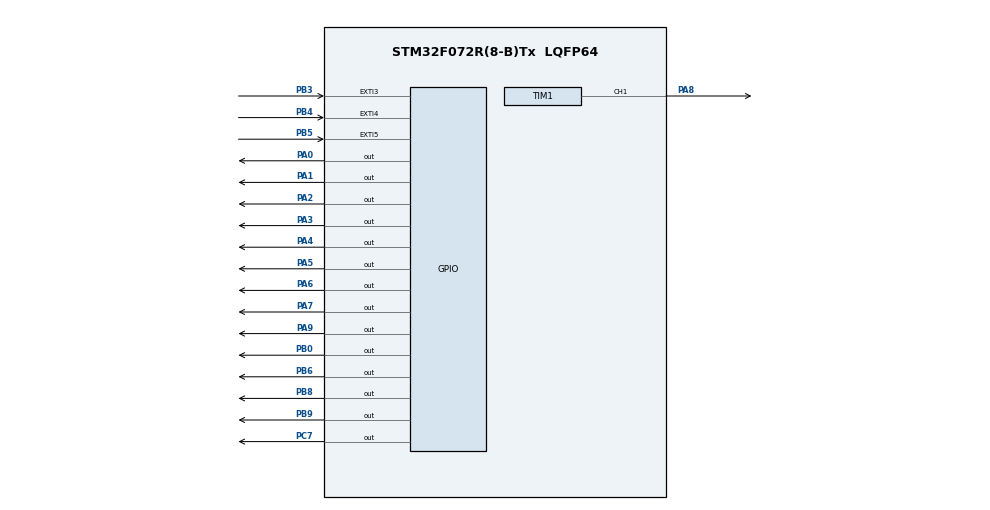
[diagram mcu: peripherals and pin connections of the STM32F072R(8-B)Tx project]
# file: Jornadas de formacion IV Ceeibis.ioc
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Mcu.Family=STM32F0
Mcu.Name=STM32F072R(8-B)Tx
Mcu.Package=LQFP64
NVIC.EXTI2_3_IRQn=true\:0\:0\:false\:false\:true\:true\:true
NVIC.EXTI4_15_IRQn=true\:0\:0\:false\:false\:true\:true\:true
PA0.Signal=GPIO_Output
PA1.Signal=GPIO_Output
PA13.Mode=Serial_Wire
PA13.Signal=SYS_SWDIO
PA14.Mode=Serial_Wire
PA14.Signal=SYS_SWCLK
PA2.Signal=GPIO_Output
PA3.Signal=GPIO_Output
PA4.Signal=GPIO_Output
PA5.Signal=GPIO_Output
PA6.Signal=GPIO_Output
PA7.Signal=GPIO_Output
PA8.Signal=S_TIM1_CH1
PA9.Signal=GPIO_Output
PB0.Signal=GPIO_Output
PB3.Signal=GPXTI3
PB4.Signal=GPXTI4
PB5.Signal=GPXTI5
PB6.Signal=GPIO_Output
PB8.Signal=GPIO_Output
PB9.Signal=GPIO_Output
PC7.Signal=GPIO_Output
ProjectManager.HeapSize=0x200
ProjectManager.StackSize=0x400
ProjectManager.TargetToolchain=TrueSTUDIO
SH.S_TIM1_CH1.0=TIM1_CH1,PWM Generation1 CH1
TIM1.Channel-PWM\ Generation1\ CH1=TIM_CHANNEL_1
TIM1.Period=200
TIM1.Prescaler=66
TIM1.Pulse-PWM\ Generation1\ CH1=100
board=custom

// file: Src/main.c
/* USER CODE BEGIN Header */
/**
 ******************************************************************************
 * @file           : main.c
 * @brief          : Main program body
 ******************************************************************************
 * @attention
 *
 * <h2><center>&copy; Copyright (c) 2019 STMicroelectronics.
 * All rights reserved.</center></h2>
 *
 * This software component is licensed by ST under BSD 3-Clause license,
 * the "License"; You may not use this file except in compliance with the
 * License. You may obtain a copy of the License at:
 *                        opensource.org/licenses/BSD-3-Clause
 *
 ******************************************************************************
 */
/* USER CODE END Header */

#include "main.h"

TIM_HandleTypeDef htim1;

void SystemClock_Config(void);
static void MX_GPIO_Init(void);
static void MX_TIM1_Init(void);

int main(void) {

	/* MCU Configuration--------------------------------------------------------*/

	/* Reset of all peripherals, Initializes the Flash interface and the Systick. */
	HAL_Init();

	/* Configure the system clock */
	SystemClock_Config();

	/* Initialize all configured peripherals */
	MX_GPIO_Init();
	MX_TIM1_Init();

	/* USER CODE BEGIN 2 */
	//LED Test
	HAL_GPIO_WritePin(GPIOB, GPIO_PIN_9, GPIO_PIN_SET);
	HAL_Delay(1000);
	HAL_GPIO_WritePin(GPIOB, GPIO_PIN_9, GPIO_PIN_RESET);
	HAL_GPIO_WritePin(GPIOB, GPIO_PIN_8, GPIO_PIN_SET);
	HAL_Delay(1000);
	HAL_GPIO_WritePin(GPIOB, GPIO_PIN_8, GPIO_PIN_RESET);
	HAL_GPIO_WritePin(GPIOA, GPIO_PIN_5, GPIO_PIN_SET);
	HAL_Delay(1000);
	HAL_GPIO_WritePin(GPIOA, GPIO_PIN_5, GPIO_PIN_RESET);
	//7 Segment Display Test
	HAL_GPIO_WritePin(GPIOA, GPIO_PIN_6, GPIO_PIN_SET);
	HAL_GPIO_WritePin(GPIOA, GPIO_PIN_7, GPIO_PIN_SET);
	HAL_GPIO_WritePin(GPIOB, GPIO_PIN_6, GPIO_PIN_SET);
	HAL_GPIO_WritePin(GPIOC, GPIO_PIN_7, GPIO_PIN_SET);
	HAL_GPIO_WritePin(GPIOA, GPIO_PIN_0, GPIO_PIN_SET);
	HAL_GPIO_WritePin(GPIOA, GPIO_PIN_1, GPIO_PIN_SET);
	HAL_GPIO_WritePin(GPIOA, GPIO_PIN_4, GPIO_PIN_SET);
	HAL_GPIO_WritePin(GPIOB, GPIO_PIN_0, GPIO_PIN_SET);
	HAL_GPIO_WritePin(GPIOA, GPIO_PIN_10, GPIO_PIN_SET);
	//Buzzer Test
	HAL_TIM_Base_Start(&htim1);
	HAL_TIM_PWM_Start(&htim1, TIM_CHANNEL_1);
	/* USER CODE END 2 */

	/* Infinite loop */
	while (1) {

	}
}

void SystemClock_Config(void) {
	RCC_OscInitTypeDef RCC_OscInitStruct = { 0 };
	RCC_ClkInitTypeDef RCC_ClkInitStruct = { 0 };

	/** Initializes the CPU, AHB and APB busses clocks
	 */
	RCC_OscInitStruct.OscillatorType = RCC_OSCILLATORTYPE_HSI;
	RCC_OscInitStruct.HSIState = RCC_HSI_ON;
	RCC_OscInitStruct.HSICalibrationValue = RCC_HSICALIBRATION_DEFAULT;
	RCC_OscInitStruct.PLL.PLLState = RCC_PLL_NONE;
	if (HAL_RCC_OscConfig(&RCC_OscInitStruct) != HAL_OK) {
		Error_Handler();
	}
	/** Initializes the CPU, AHB and APB busses clocks
	 */
	RCC_ClkInitStruct.ClockType = RCC_CLOCKTYPE_HCLK | RCC_CLOCKTYPE_SYSCLK
			| RCC_CLOCKTYPE_PCLK1;
	RCC_ClkInitStruct.SYSCLKSource = RCC_SYSCLKSOURCE_HSI;
	RCC_ClkInitStruct.AHBCLKDivider = RCC_SYSCLK_DIV1;
	RCC_ClkInitStruct.APB1CLKDivider = RCC_HCLK_DIV1;

	if (HAL_RCC_ClockConfig(&RCC_ClkInitStruct, FLASH_LATENCY_0) != HAL_OK) {
		Error_Handler();
	}
}

static void MX_TIM1_Init(void) {

	TIM_MasterConfigTypeDef sMasterConfig = { 0 };
	TIM_OC_InitTypeDef sConfigOC = { 0 };
	TIM_BreakDeadTimeConfigTypeDef sBreakDeadTimeConfig = { 0 };

	htim1.Instance = TIM1;
	htim1.Init.Prescaler = 66;
	htim1.Init.CounterMode = TIM_COUNTERMODE_UP;
	htim1.Init.Period = 200;
	htim1.Init.ClockDivision = TIM_CLOCKDIVISION_DIV1;
	htim1.Init.RepetitionCounter = 0;
	htim1.Init.AutoReloadPreload = TIM_AUTORELOAD_PRELOAD_DISABLE;
	if (HAL_TIM_PWM_Init(&htim1) != HAL_OK) {
		Error_Handler();
	}
	sMasterConfig.MasterOutputTrigger = TIM_TRGO_RESET;
	sMasterConfig.MasterSlaveMode = TIM_MASTERSLAVEMODE_DISABLE;
	if (HAL_TIMEx_MasterConfigSynchronization(&htim1, &sMasterConfig)
			!= HAL_OK) {
		Error_Handler();
	}
	sConfigOC.OCMode = TIM_OCMODE_PWM1;
	sConfigOC.Pulse = 100;
	sConfigOC.OCPolarity = TIM_OCPOLARITY_HIGH;
	sConfigOC.OCNPolarity = TIM_OCNPOLARITY_HIGH;
	sConfigOC.OCFastMode = TIM_OCFAST_DISABLE;
	sConfigOC.OCIdleState = TIM_OCIDLESTATE_RESET;
	sConfigOC.OCNIdleState = TIM_OCNIDLESTATE_RESET;
	if (HAL_TIM_PWM_ConfigChannel(&htim1, &sConfigOC, TIM_CHANNEL_1)
			!= HAL_OK) {
		Error_Handler();
	}
	sBreakDeadTimeConfig.OffStateRunMode = TIM_OSSR_DISABLE;
	sBreakDeadTimeConfig.OffStateIDLEMode = TIM_OSSI_DISABLE;
	sBreakDeadTimeConfig.LockLevel = TIM_LOCKLEVEL_OFF;
	sBreakDeadTimeConfig.DeadTime = 0;
	sBreakDeadTimeConfig.BreakState = TIM_BREAK_DISABLE;
	sBreakDeadTimeConfig.BreakPolarity = TIM_BREAKPOLARITY_HIGH;
	sBreakDeadTimeConfig.AutomaticOutput = TIM_AUTOMATICOUTPUT_DISABLE;
	if (HAL_TIMEx_ConfigBreakDeadTime(&htim1, &sBreakDeadTimeConfig)
			!= HAL_OK) {
		Error_Handler();
	}
	HAL_TIM_MspPostInit(&htim1);

}

static void MX_GPIO_Init(void) {
	GPIO_InitTypeDef GPIO_InitStruct = { 0 };

	/* GPIO Ports Clock Enable */
	__HAL_RCC_GPIOA_CLK_ENABLE()
	;
	__HAL_RCC_GPIOB_CLK_ENABLE()
	;
	__HAL_RCC_GPIOC_CLK_ENABLE()
	;

	/*Configure GPIO pin Output Level */
	HAL_GPIO_WritePin(GPIOA,
			GPIO_PIN_0 | GPIO_PIN_1 | GPIO_PIN_2 | GPIO_PIN_3 | GPIO_PIN_4
					| GPIO_PIN_5 | GPIO_PIN_6 | GPIO_PIN_7 | GPIO_PIN_9,
			GPIO_PIN_RESET);

	/*Configure GPIO pin Output Level */
	HAL_GPIO_WritePin(GPIOB, GPIO_PIN_0 | GPIO_PIN_6 | GPIO_PIN_8 | GPIO_PIN_9,
			GPIO_PIN_RESET);

	/*Configure GPIO pin Output Level */
	HAL_GPIO_WritePin(GPIOC, GPIO_PIN_7, GPIO_PIN_RESET);

	/*Configure GPIO pins : PA0 PA1 PA2 PA3
	 PA4 PA5 PA6 PA7
	 PA9 */
	GPIO_InitStruct.Pin = GPIO_PIN_0 | GPIO_PIN_1 | GPIO_PIN_2 | GPIO_PIN_3
			| GPIO_PIN_4 | GPIO_PIN_5 | GPIO_PIN_6 | GPIO_PIN_7 | GPIO_PIN_9;
	GPIO_InitStruct.Mode = GPIO_MODE_OUTPUT_PP;
	GPIO_InitStruct.Pull = GPIO_NOPULL;
	GPIO_InitStruct.Speed = GPIO_SPEED_FREQ_LOW;
	HAL_GPIO_Init(GPIOA, &GPIO_InitStruct);

	/*Configure GPIO pins : PB0 PB6 PB8 PB9 */
	GPIO_InitStruct.Pin = GPIO_PIN_0 | GPIO_PIN_6 | GPIO_PIN_8 | GPIO_PIN_9;
	GPIO_InitStruct.Mode = GPIO_MODE_OUTPUT_PP;
	GPIO_InitStruct.Pull = GPIO_NOPULL;
	GPIO_InitStruct.Speed = GPIO_SPEED_FREQ_LOW;
	HAL_GPIO_Init(GPIOB, &GPIO_InitStruct);

	/*Configure GPIO pin : PC7 */
	GPIO_InitStruct.Pin = GPIO_PIN_7;
	GPIO_InitStruct.Mode = GPIO_MODE_OUTPUT_PP;
	GPIO_InitStruct.Pull = GPIO_NOPULL;
	GPIO_InitStruct.Speed = GPIO_SPEED_FREQ_LOW;
	HAL_GPIO_Init(GPIOC, &GPIO_InitStruct);

	/*Configure GPIO pins : PB3 PB4 PB5 */
	GPIO_InitStruct.Pin = GPIO_PIN_3 | GPIO_PIN_4 | GPIO_PIN_5;
	GPIO_InitStruct.Mode = GPIO_MODE_IT_RISING;
	GPIO_InitStruct.Pull = GPIO_NOPULL;
	HAL_GPIO_Init(GPIOB, &GPIO_InitStruct);

	/* EXTI interrupt init*/
	HAL_NVIC_SetPriority(EXTI2_3_IRQn, 0, 0);
	HAL_NVIC_EnableIRQ(EXTI2_3_IRQn);

	HAL_NVIC_SetPriority(EXTI4_15_IRQn, 0, 0);
	HAL_NVIC_EnableIRQ(EXTI4_15_IRQn);

}

/* USER CODE BEGIN 4 */
void HAL_GPIO_EXTI_Callback(uint16_t GPIO_Pin) {
	if (GPIO_Pin == GPIO_PIN_4) {
		HAL_GPIO_TogglePin(GPIOB, GPIO_PIN_9);
	}
	if (GPIO_Pin == GPIO_PIN_5) {
		HAL_GPIO_TogglePin(GPIOB, GPIO_PIN_8);
	}
	if (GPIO_Pin == GPIO_PIN_3) {
		HAL_GPIO_TogglePin(GPIOA, GPIO_PIN_5);
	}
}

/* USER CODE END 4 */

void Error_Handler(void) {
}

/************************ (C) COPYRIGHT STMicroelectronics *****END OF FILE****/
